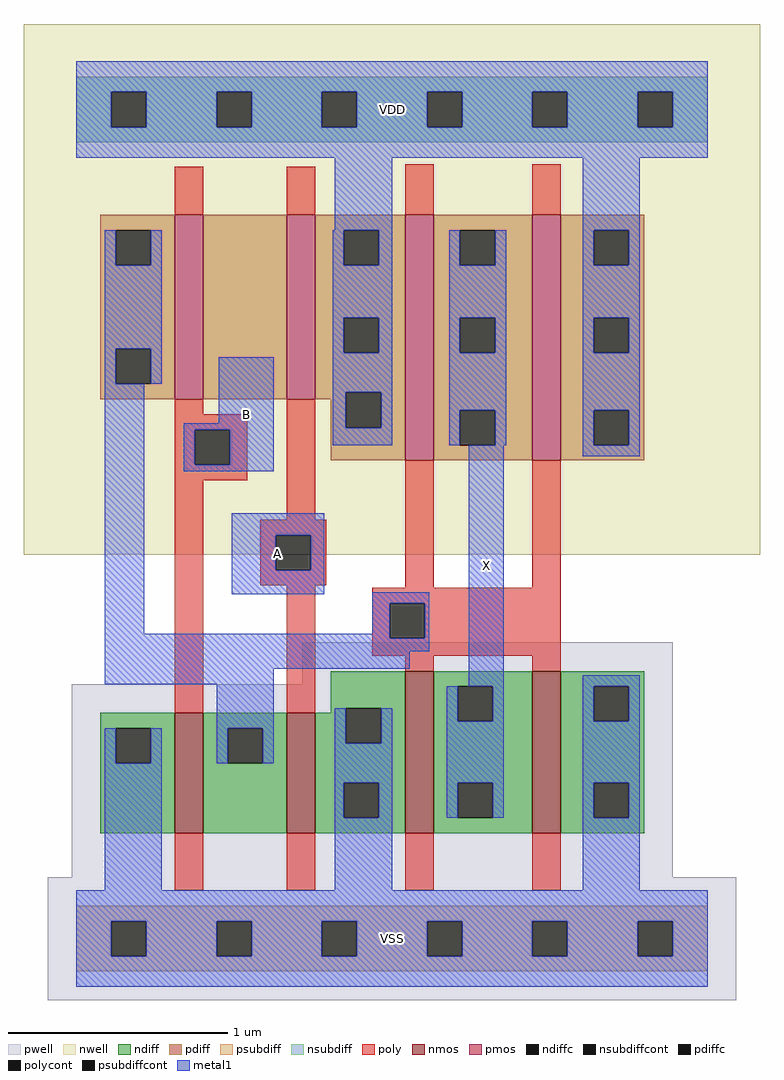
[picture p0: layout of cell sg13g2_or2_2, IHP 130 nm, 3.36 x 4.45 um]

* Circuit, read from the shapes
.subckt sg13g2_or2_2 B VSS A X VDD
XM1 n1 B VSS VSS sg13_lv_nmos w=0.55u l=0.13u
XM2 VSS A n1 VSS sg13_lv_nmos w=0.55u l=0.13u
XM3 X n1 VSS VSS sg13_lv_nmos w=0.74u l=0.13u m=2
XM4 n2 B n1 VDD sg13_lv_pmos w=0.84u l=0.13u
XM5 VDD A n2 VDD sg13_lv_pmos w=0.84u l=0.13u
XM6 X n1 VDD VDD sg13_lv_pmos w=1.12u l=0.13u m=2
.ends

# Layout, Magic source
magic
tech ihp-sg13g2
<< nwell >>
rect -24 175 312 417
<< pwell >>
rect 103 116 272 135
rect -2 28 272 116
rect -13 -28 301 28
<< nmos >>
rect 45 48 58 103
rect 96 48 109 103
rect 150 48 163 122
rect 208 48 221 122
<< pmos >>
rect 45 246 58 330
rect 96 246 109 330
rect 150 218 163 330
rect 208 218 221 330
<< ndiff >>
rect 116 105 150 122
rect 116 103 123 105
rect 11 96 45 103
rect 11 80 18 96
rect 34 80 45 96
rect 11 48 45 80
rect 58 96 96 103
rect 58 80 69 96
rect 85 80 96 96
rect 58 48 96 80
rect 109 89 123 103
rect 139 89 150 105
rect 109 71 150 89
rect 109 55 122 71
rect 138 55 150 71
rect 109 48 150 55
rect 163 115 208 122
rect 163 99 174 115
rect 190 99 208 115
rect 163 71 208 99
rect 163 55 174 71
rect 190 55 208 71
rect 163 48 208 55
rect 221 115 259 122
rect 221 99 236 115
rect 252 99 259 115
rect 221 71 259 99
rect 221 55 236 71
rect 252 55 259 71
rect 221 48 259 55
<< pdiff >>
rect 11 323 45 330
rect 11 307 18 323
rect 34 307 45 323
rect 11 269 45 307
rect 11 253 18 269
rect 34 253 45 269
rect 11 246 45 253
rect 58 246 96 330
rect 109 323 150 330
rect 109 307 122 323
rect 138 307 150 323
rect 109 283 150 307
rect 109 267 122 283
rect 138 267 150 283
rect 109 249 150 267
rect 109 246 123 249
rect 116 233 123 246
rect 139 233 150 249
rect 116 218 150 233
rect 163 323 208 330
rect 163 307 175 323
rect 191 307 208 323
rect 163 283 208 307
rect 163 267 175 283
rect 191 267 208 283
rect 163 241 208 267
rect 163 225 175 241
rect 191 225 208 241
rect 163 218 208 225
rect 221 323 259 330
rect 221 307 236 323
rect 252 307 259 323
rect 221 283 259 307
rect 221 267 236 283
rect 252 267 259 283
rect 221 241 259 267
rect 221 225 236 241
rect 252 225 259 241
rect 221 218 259 225
<< ndiffc >>
rect 18 80 34 96
rect 69 80 85 96
rect 123 89 139 105
rect 122 55 138 71
rect 174 99 190 115
rect 174 55 190 71
rect 236 99 252 115
rect 236 55 252 71
<< pdiffc >>
rect 18 307 34 323
rect 18 253 34 269
rect 122 307 138 323
rect 122 267 138 283
rect 123 233 139 249
rect 175 307 191 323
rect 175 267 191 283
rect 175 225 191 241
rect 236 307 252 323
rect 236 267 252 283
rect 236 225 252 241
<< psubdiff >>
rect 0 8 288 15
rect 0 -8 16 8
rect 32 -8 64 8
rect 80 -8 112 8
rect 128 -8 160 8
rect 176 -8 208 8
rect 224 -8 256 8
rect 272 -8 288 8
rect 0 -15 288 -8
<< nsubdiff >>
rect 0 386 288 393
rect 0 370 16 386
rect 32 370 64 386
rect 80 370 112 386
rect 128 370 160 386
rect 176 370 208 386
rect 224 370 256 386
rect 272 370 288 386
rect 0 363 288 370
<< psubdiffcont >>
rect 16 -8 32 8
rect 64 -8 80 8
rect 112 -8 128 8
rect 160 -8 176 8
rect 208 -8 224 8
rect 256 -8 272 8
<< nsubdiffcont >>
rect 16 370 32 386
rect 64 370 80 386
rect 112 370 128 386
rect 160 370 176 386
rect 208 370 224 386
rect 256 370 272 386
<< poly >>
rect 45 330 58 352
rect 96 330 109 352
rect 150 330 163 353
rect 208 330 221 353
rect 45 239 58 246
rect 45 232 78 239
rect 45 216 54 232
rect 70 216 78 232
rect 45 209 78 216
rect 45 103 58 209
rect 96 191 109 246
rect 84 184 114 191
rect 84 168 91 184
rect 107 168 114 184
rect 84 161 114 168
rect 96 103 109 161
rect 150 160 163 218
rect 208 160 221 218
rect 135 153 221 160
rect 135 137 143 153
rect 159 137 221 153
rect 135 129 221 137
rect 150 122 163 129
rect 208 122 221 129
rect 45 22 58 48
rect 96 22 109 48
rect 150 22 163 48
rect 208 22 221 48
<< polycont >>
rect 54 216 70 232
rect 91 168 107 184
rect 143 137 159 153
<< metal1 >>
rect 0 386 288 400
rect 0 370 16 386
rect 32 370 64 386
rect 80 370 112 386
rect 128 370 160 386
rect 176 370 208 386
rect 224 370 256 386
rect 272 370 288 386
rect 0 356 288 370
rect 118 323 144 356
rect 231 323 257 356
rect 13 307 18 323
rect 34 307 39 323
rect 13 269 39 307
rect 13 253 18 269
rect 34 253 39 269
rect 117 307 122 323
rect 138 307 144 323
rect 117 283 144 307
rect 117 267 122 283
rect 138 267 144 283
rect 13 139 31 253
rect 65 235 90 265
rect 49 232 90 235
rect 49 216 54 232
rect 70 216 90 232
rect 117 249 144 267
rect 117 233 123 249
rect 139 233 144 249
rect 117 225 144 233
rect 170 307 175 323
rect 191 307 196 323
rect 170 283 196 307
rect 170 267 175 283
rect 191 267 196 283
rect 170 241 196 267
rect 170 225 175 241
rect 191 225 196 241
rect 231 307 236 323
rect 252 307 257 323
rect 231 283 257 307
rect 231 267 236 283
rect 252 267 257 283
rect 231 241 257 267
rect 231 225 236 241
rect 252 225 257 241
rect 49 213 90 216
rect 71 184 113 194
rect 71 168 91 184
rect 107 168 113 184
rect 71 157 113 168
rect 135 153 161 158
rect 135 139 143 153
rect 13 137 143 139
rect 159 137 161 153
rect 13 131 161 137
rect 13 123 152 131
rect 13 116 90 123
rect 64 96 90 116
rect 179 115 195 225
rect 231 220 257 225
rect 13 80 18 96
rect 34 80 39 96
rect 64 80 69 96
rect 85 80 90 96
rect 118 89 123 105
rect 139 89 144 105
rect 13 22 39 80
rect 118 71 144 89
rect 118 55 122 71
rect 138 55 144 71
rect 169 99 174 115
rect 190 99 195 115
rect 169 71 195 99
rect 169 55 174 71
rect 190 55 195 71
rect 231 115 257 120
rect 231 99 236 115
rect 252 99 257 115
rect 231 71 257 99
rect 231 55 236 71
rect 252 55 257 71
rect 118 22 144 55
rect 231 22 257 55
rect 0 8 288 22
rect 0 -8 16 8
rect 32 -8 64 8
rect 80 -8 112 8
rect 128 -8 160 8
rect 176 -8 208 8
rect 224 -8 256 8
rect 272 -8 288 8
rect 0 -22 288 -8
<< labels >>
flabel metal1 s 65 213 90 265 0 FreeSans 200 0 0 0 B
port 2 nsew
flabel metal1 s 0 -22 288 22 0 FreeSans 200 0 0 0 VSS
port 3 nsew
flabel metal1 s 71 157 113 194 0 FreeSans 200 0 0 0 A
port 4 nsew
flabel metal1 s 179 115 195 225 0 FreeSans 200 0 0 0 X
port 5 nsew
flabel metal1 s 0 356 288 400 0 FreeSans 200 0 0 0 VDD
port 6 nsew
<< properties >>
string FIXED_BBOX 0 0 288 378
string GDS_END 209728
string GDS_FILE ../gds/controller.gds
string GDS_START 204890
<< end >>
